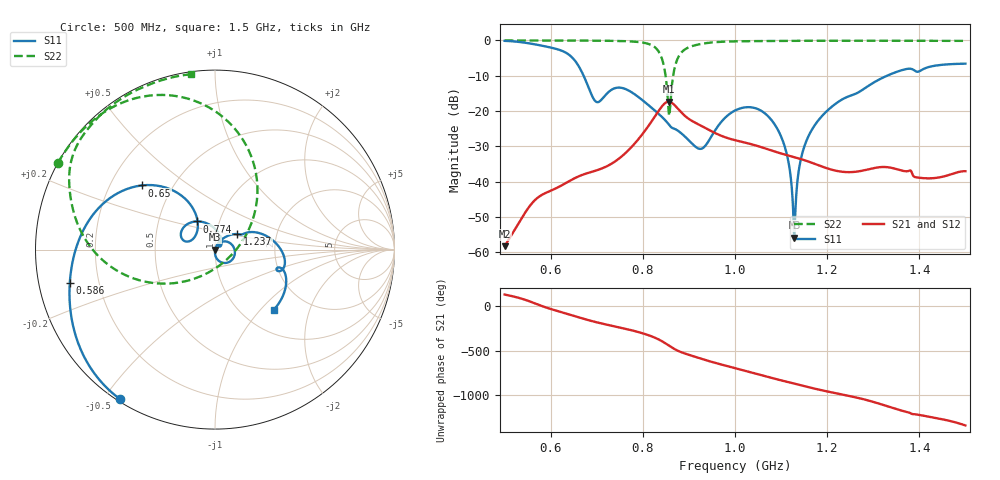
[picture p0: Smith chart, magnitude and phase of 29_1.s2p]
! TOUCHSTONE file generated by CST MICROWAVE STUDIO
! Date and time: Mon Oct 26 12:08:49 2020
! Project name: Scenario_1_Circular_Tissue_out_of_Line_v2.cst
! Parameters = {dy1=138.4; L_HA=400; MT=2.54; Rad_Dielectric=30; Rad_Lower=7.3; Rad_Upper=30; a_HA=580; a_WG=246; b_HA=500; b_WG=121; c_HA=0; c_WG=187; d_feed=85; dx1=173; h_feed=15; h_lower=18; h_upper=40}
! Header version: 2018
! Port assignment regex: !\s*Touchstone port\s*([0-9]+)\s*=\s*(CST MWS port|CST DS port)\s*([0-9]+|Zmin|Zmax)\s*\(\"(.*)\"\)(\s*mode\s*([0-9]+))?.*
! Touchstone port assignment:
! Touchstone port 1 = CST MWS port 1 ("")
! Touchstone port 2 = CST MWS port 2 ("")
# GHz S DB R 50
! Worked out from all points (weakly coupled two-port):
!   1003 points, 500 MHz to 1.5 GHz, reference 50 ohm
!   highest |S21| = -17.36 dB at 856 MHz (marker M1); lowest = -58.3 dB at 500 MHz (marker M2)
!   lowest |S11| = -55.9 dB at 1.129 GHz (marker M3), VSWR 1.00, Z = 50.2 + j0.0216 ohm
!   |S11| at or under -10 dB: 671.4 MHz to 1.33 GHz (658.5 MHz wide, 65.8 % of centre)
!   |S22| runs from -21.4 to 0.0 dB; largest |S21 - S12| = 6.1e-05
!   S11 on the Smith chart (normalised r, x): 500 MHz: 0.01, -0.55; 586 MHz: 0.09, -0.11; 650 MHz: 0.33, +0.34; 774 MHz: 0.78, +0.25; 1.237 GHz: 1.26, +0.22; 1.5 GHz: 1.38, -1.19
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0.5  -0.12 -122.5  -58.32 126.1  -58.32 126.1  -0.01 151.1
0.586  -1.62 -167.1  -43.43 -11.6  -43.43 -11.6  -0.02 145.1
0.65  -5.31 138.8  -39.20 -111.6  -39.20 -111.6  -0.04 139.9
0.667  -8.78 122.5  -38.19 -138.1  -38.19 -138.1  -0.04 138.3
0.7  -17.48 144.1  -36.81 175.4  -36.81 175.4  -0.07 134.8
0.774  -14.56 122.9  -30.42 88.9  -30.42 88.9  -0.28 122.2
0.834  -20.79 75.5  -20.03 -15.1  -20.03 -15.1  -3.08 82.6
0.845  -22.14 66.4  -18.16 -46.5  -18.16 -46.5  -6.87 59.0
0.856  -23.77 58.0  -17.36 -83.4  -17.36 -83.4  -20.18 -16.4
0.873  -25.33 50.1  -18.92 -135.2  -18.92 -135.2  -5.97 -162.6
0.893  -27.45 35.4  -21.58 -176.3  -21.58 -176.3  -2.40 171.8
0.929  -30.60 43.5  -24.35 124.5  -24.35 124.5  -0.94 154.8
1  -19.87 11.8  -28.28 23.7  -28.28 23.7  -0.26 140.2
1.048  -19.37 -37.3  -29.88 -43.6  -29.88 -43.6  -0.18 134.6
1.089  -24.41 -74.4  -31.61 -99.2  -31.61 -99.2  -0.14 130.7
1.113  -32.57 -89.2  -32.53 -130.1  -32.53 -130.1  -0.12 128.6
1.129  -55.88 7.7  -33.10 -150.7  -33.10 -150.7  -0.11 127.2
1.143  -33.61 66.9  -33.63 -168.8  -33.63 -168.8  -0.10 126.1
1.167  -25.27 59.4  -34.69 160.8  -34.69 160.8  -0.09 124.2
1.237  -16.41 34.8  -37.29 83.5  -37.29 83.5  -0.08 118.8
1.334  -9.77 9.4  -35.98 -49.4  -35.98 -49.4  -0.09 111.5
1.5  -6.59 -45.7  -37.07 102.1  -37.07 102.4  -0.12 97.8
